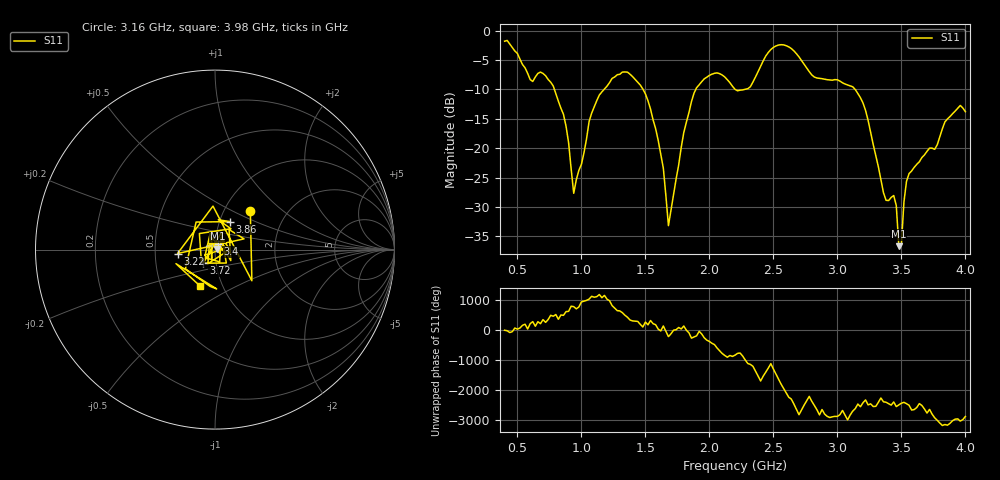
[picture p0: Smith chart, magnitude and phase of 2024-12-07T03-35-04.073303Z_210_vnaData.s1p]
!Created with skrf (http://scikit-rf.org).
# Hz S RI R 50.0
!freq ReS11 ImS11
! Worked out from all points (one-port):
!   181 points, 400 MHz to 4 GHz, reference 50 ohm
!   lowest |S11| = -36.7 dB at 3.48 GHz (marker M1), VSWR 1.03, Z = 51.4 + j0.49 ohm
!   |S11| at or under -10 dB: 789.2 MHz to 1.177 GHz (388 MHz wide, 39.5 % of centre); 1.482 GHz to 1.894 GHz (411.6 MHz wide, 24.4 % of centre); 3.139 GHz to end of sweep (the widest 3 of 4)
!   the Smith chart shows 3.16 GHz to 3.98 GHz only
!   S11 on the Smith chart (normalised r, x): 3.16 GHz: 1.32, +0.62; 3.22 GHz: 0.65, -0.03; 3.4 GHz: 1.03, +0.06; 3.72 GHz: 0.87, -0.13; 3.86 GHz: 1.12, +0.36; 3.98 GHz: 0.78, -0.34
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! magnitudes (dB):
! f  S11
! 400 MHz  -1.8
! 600 MHz  -8.3
! 720 MHz  -7.7
! 860 MHz  -14.2
! 940 MHz  -27.7
! 1.08 GHz  -14.0
! 1.3 GHz  -7.4
! 1.52 GHz  -11.9
! 1.64 GHz  -23.4
! 1.68 GHz  -33.2
! 1.76 GHz  -22.8
! 1.9 GHz  -9.7
! 2.2 GHz  -10.0
! 2.5 GHz  -2.8
! 2.66 GHz  -3.4
! 3.1 GHz  -9.4
! 3.16 GHz  -10.7
! 3.22 GHz  -13.6
! 3.4 GHz  -28.9
! 3.46 GHz  -29.7
! 3.48 GHz  -36.7
! 3.5 GHz  -36.3
! 3.52 GHz  -29.1
! 3.56 GHz  -24.3
! 3.72 GHz  -20.0
! 3.86 GHz  -15.0
! 3.98 GHz  -13.2
! 4 GHz  -13.8
